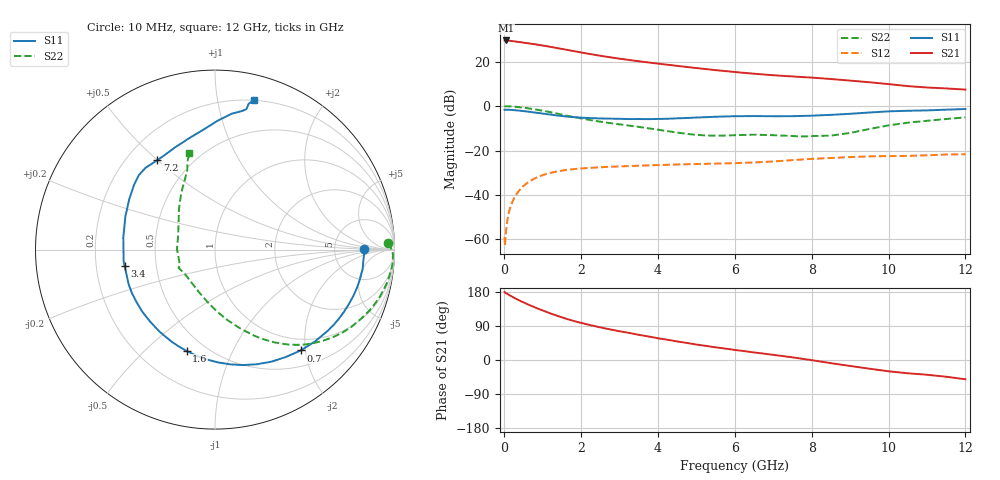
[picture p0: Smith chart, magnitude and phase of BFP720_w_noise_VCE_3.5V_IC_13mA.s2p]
! Infineon Technologies  Discrete & RF Semiconductors
! BFP720
! VCE =  3.5 V,  IC =  13 mA
! Common Emitter S-Parameters:  Aug 2012
# GHz  S  MA  R  50
!  f  S11  S21  S12  S22
! GHz  MAG  ANG  MAG  ANG  MAG  ANG  MAG  ANG
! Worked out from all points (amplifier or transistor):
!   105 points, 10 MHz to 12 GHz, reference 50 ohm
!   highest |S21| = 29.6 dB at 50 MHz (marker M1)
!   |S21| within 3 dB of that: start of sweep to 1.241 GHz
!   unconditionally stable (mu >= 1): start of sweep to 11.97 MHz; 5.061 GHz to 11.08 GHz
!   at 300 MHz: K = 0.12, MSG = 34.6 dB, |S12| = -40.2 dB
!   at 3.6 GHz: K = 0.78, MSG = 23.4 dB, |S12| = -26.8 dB
!   at 12 GHz: K = 0.77, MSG = 14.6 dB, |S12| = -21.7 dB
!   lowest NFmin = 0.59 dB at 450 MHz
!   S11 on the Smith chart (normalised r, x): 10 MHz: 11, +0; 700 MHz: 0.78, -1.91; 1.6 GHz: 0.40, -0.68; 3.4 GHz: 0.33, -0.08; 7.2 GHz: 0.32, +0.50; 12 GHz: 0.20, +1.27
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0.01  0.8277 0.2  30.1 179.4  0.0011 -8.7  0.9662 2.2
0.02  0.8319 -1.3  30.07 177.7  0.0007 91.1  0.9895 -0.5
0.05  0.8291 -3.5  30.2 176.1  0.0016 88.1  0.9922 -1.9
0.2  0.82 -14.6  29.28 167.4  0.0066 80.9  0.9818 -9.0
0.35  0.7987 -25.4  28.14 159.4  0.0113 75.9  0.9567 -15.6
0.5  0.7742 -35.8  26.96 152.1  0.0159 70.6  0.9241 -21.7
0.7  0.7375 -49.6  25.47 143.1  0.0212 63.9  0.8737 -29.4
0.9  0.6995 -63.1  24 134.7  0.0259 57.9  0.8184 -36.6
1.1  0.6627 -76.1  22.45 126.8  0.0297 52.2  0.7594 -43.2
1.3  0.6288 -88.5  20.95 119.4  0.0328 47.3  0.7011 -49.2
1.6  0.5863 -105.7  18.81 109.2  0.0363 41.1  0.6195 -56.8
1.9  0.5571 -120.2  16.81 100.5  0.0388 36.2  0.5495 -63.3
2.1  0.544 -128.4  15.64 95.5  0.04 33.7  0.5106 -67.0
2.6  0.5261 -146.0  13.23 83.9  0.0424 28.6  0.4343 -75.2
3.4  0.5117 -169.7  10.54 68.5  0.0452 23.4  0.3495 -87.3
4.1  0.5167 169.8  8.875 55.8  0.0473 20.2  0.2863 -100.2
5  0.5547 149.4  7.217 40.8  0.0496 17.1  0.2257 -125.4
6.1  0.5942 134.4  5.774 25.3  0.0524 15.2  0.2227 -149.9
7.2  0.5932 122.8  4.844 11.0  0.0583 14.8  0.2181 -155.3
8.5  0.6366 103.2  4.085 -8.3  0.068 8.8  0.2167 162.1
10.5  0.787 78.9  2.829 -35.0  0.0757 -3.3  0.4246 113.3
12  0.8615 75.4  2.359 -50.8  0.0826 -11.9  0.5582 104.8
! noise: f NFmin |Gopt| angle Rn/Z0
0.45  0.59  0.25  1  0.17
1.8  0.65  0.23  16  0.13
2.4  0.7  0.21  29  0.37
5.5  0.86  0.09  -13  0.17
10  1.05  0.42  -76  0.26
